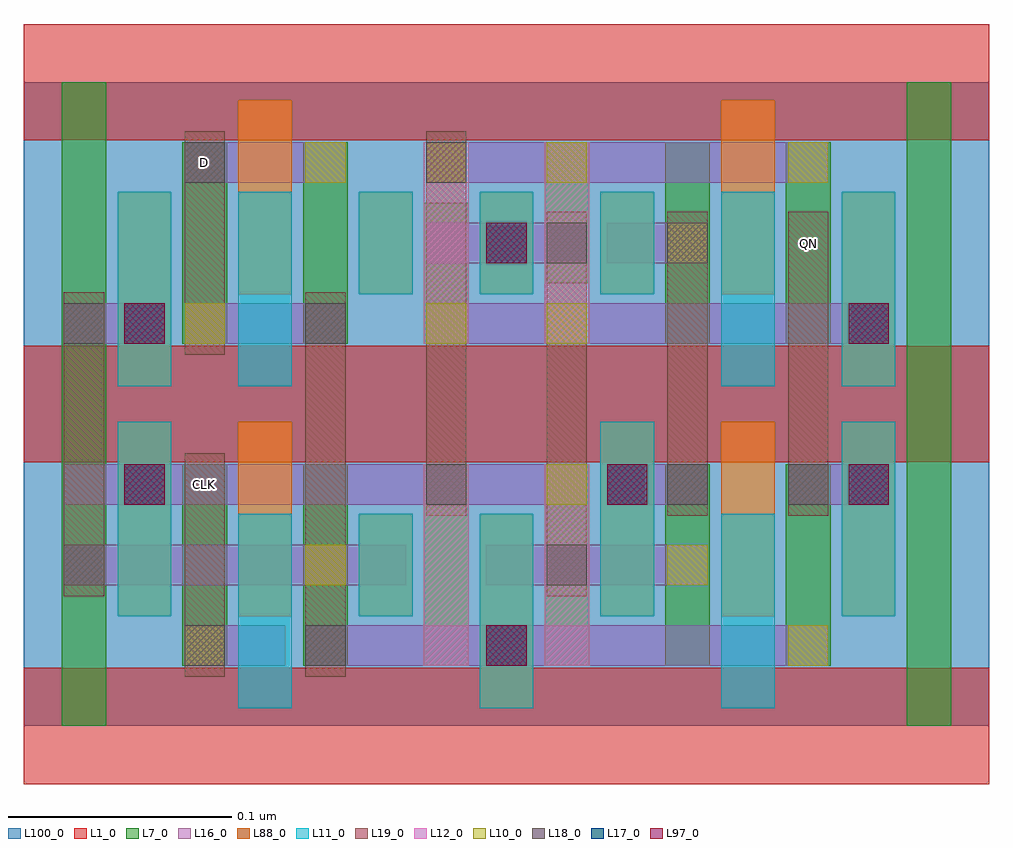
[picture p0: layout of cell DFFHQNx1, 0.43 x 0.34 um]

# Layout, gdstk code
import gdstk
lib = gdstk.Library(unit=1e-6, precision=2.5e-10)
def R(c, l, rs):  # rectangles x0, y0, x1, y1
    for r in rs: c.add(gdstk.rectangle(r[:2], r[2:], *l))
def A(c, l, x, y, w, h, nx, ny, dx, dy):  # array of equal rectangles
    R(c, l, [(x+i*dx, y+j*dy, x+i*dx+w, y+j*dy+h) for i in range(nx) for j in range(ny)])
L1_0 = (1, 0)
L7_0 = (7, 0)
L10_0 = (10, 0)
L11_0 = (11, 0)
L12_0 = (12, 0)
L16_0 = (16, 0)
L17_0 = (17, 0)
L18_0 = (18, 0)
L19_0 = (19, 0)
L88_0 = (88, 0)
L97_0 = (97, 0)
L100_0 = (100, 0)

dffhqnx1 = lib.new_cell('DFFHQNx1')
A(dffhqnx1, L1_0, 0, -0.026, 0.432, 0.052, 1, 3, 0, 0.144)
A(dffhqnx1, L7_0, 0.071, 0.027, 0.02, 0.09, 6, 1, 0.054, 0)
R(dffhqnx1, L7_0, [(0.017,0,0.037,0.144), (0.395,0,0.415,0.144), (0.017,0.144,0.037,0.288), (0.395,0.144,0.415,0.288), (0.071,0.171,0.091,0.261), (0.125,0.171,0.145,0.261), (0.179,0.171,0.199,0.234), (0.287,0.171,0.307,0.261), (0.341,0.171,0.361,0.261), (0.233,0.198,0.253,0.261)])
A(dffhqnx1, L10_0, 0.126, 0.243, 0.018, 0.018, 3, 1, 0.054, 0)
R(dffhqnx1, L10_0, [(0.072,0.027,0.09,0.045), (0.342,0.027,0.36,0.045), (0.126,0.063,0.144,0.081), (0.288,0.063,0.306,0.081), (0.234,0.099,0.252,0.117), (0.072,0.171,0.09,0.189), (0.18,0.171,0.198,0.189), (0.234,0.171,0.252,0.189), (0.288,0.207,0.306,0.225), (0.342,0.243,0.36,0.261)])
A(dffhqnx1, L11_0, 0.096, 0.008, 0.024, 0.087, 3, 1, 0.108, 0)
A(dffhqnx1, L11_0, 0.15, 0.193, 0.024, 0.046, 3, 1, 0.054, 0)
R(dffhqnx1, L11_0, [(0.042,0.049,0.066,0.136), (0.15,0.049,0.174,0.095), (0.258,0.049,0.282,0.136), (0.366,0.049,0.39,0.136), (0.042,0.152,0.066,0.239), (0.096,0.152,0.12,0.239), (0.312,0.152,0.336,0.239), (0.366,0.152,0.39,0.239)])
R(dffhqnx1, L12_0, [(0.179,0.027,0.199,0.117), (0.233,0.027,0.253,0.117), (0.179,0.171,0.199,0.261), (0.233,0.171,0.253,0.261)])
R(dffhqnx1, L16_0, [(0.072,0.027,0.117,0.045), (0.126,0.027,0.36,0.045), (0.018,0.063,0.171,0.081), (0.207,0.063,0.306,0.081), (0.018,0.099,0.252,0.117), (0.261,0.099,0.306,0.117), (0.342,0.099,0.387,0.117), (0.018,0.171,0.063,0.189), (0.072,0.171,0.144,0.189), (0.18,0.171,0.387,0.189), (0.18,0.207,0.252,0.225), (0.261,0.207,0.306,0.225), (0.072,0.243,0.144,0.261), (0.18,0.243,0.36,0.261)])
R(dffhqnx1, L17_0, [(0.207,0.027,0.225,0.045), (0.045,0.099,0.063,0.117), (0.261,0.099,0.279,0.117), (0.369,0.099,0.387,0.117), (0.045,0.171,0.063,0.189), (0.369,0.171,0.387,0.189), (0.207,0.207,0.225,0.225)])
R(dffhqnx1, L18_0, [(0.072,0.027,0.09,0.045), (0.126,0.027,0.144,0.045), (0.018,0.063,0.036,0.081), (0.234,0.063,0.252,0.081), (0.18,0.099,0.198,0.117), (0.288,0.099,0.306,0.117), (0.342,0.099,0.36,0.117), (0.018,0.171,0.036,0.189), (0.126,0.171,0.144,0.189), (0.234,0.207,0.252,0.225), (0.288,0.207,0.306,0.225), (0.072,0.243,0.09,0.261), (0.18,0.243,0.198,0.261)])
R(dffhqnx1, L19_0, [(0.072,0.022,0.09,0.122), (0.126,0.022,0.144,0.194), (0.018,0.058,0.036,0.194), (0.234,0.058,0.252,0.23), (0.18,0.094,0.198,0.266), (0.288,0.094,0.306,0.23), (0.342,0.094,0.36,0.23), (0.072,0.166,0.09,0.266)])
A(dffhqnx1, L88_0, 0.258, 0.049, 0.024, 0.087, 3, 1, 0.054, 0)
A(dffhqnx1, L88_0, 0.15, 0.193, 0.024, 0.046, 3, 1, 0.054, 0)
R(dffhqnx1, L88_0, [(0.204,0.008,0.228,0.095), (0.042,0.049,0.066,0.136), (0.096,0.049,0.12,0.136), (0.15,0.049,0.174,0.095), (0.042,0.152,0.066,0.239), (0.366,0.152,0.39,0.239), (0.096,0.193,0.12,0.28), (0.312,0.193,0.336,0.28)])
R(dffhqnx1, L97_0, [(0.207,0.027,0.225,0.045), (0.045,0.099,0.063,0.117), (0.261,0.099,0.279,0.117), (0.369,0.099,0.387,0.117), (0.045,0.171,0.063,0.189), (0.369,0.171,0.387,0.189), (0.207,0.207,0.225,0.225)])
R(dffhqnx1, L100_0, [(0,0,0.432,0.288)])
dffhqnx1.add(gdstk.Label('CLK', (0.081,0.108), layer=19, texttype=251))
dffhqnx1.add(gdstk.Label('D', (0.081,0.252), layer=19, texttype=251))
dffhqnx1.add(gdstk.Label('QN', (0.351,0.216), layer=19, texttype=251))

lib.write_gds('DFFHQNx1.gds')
